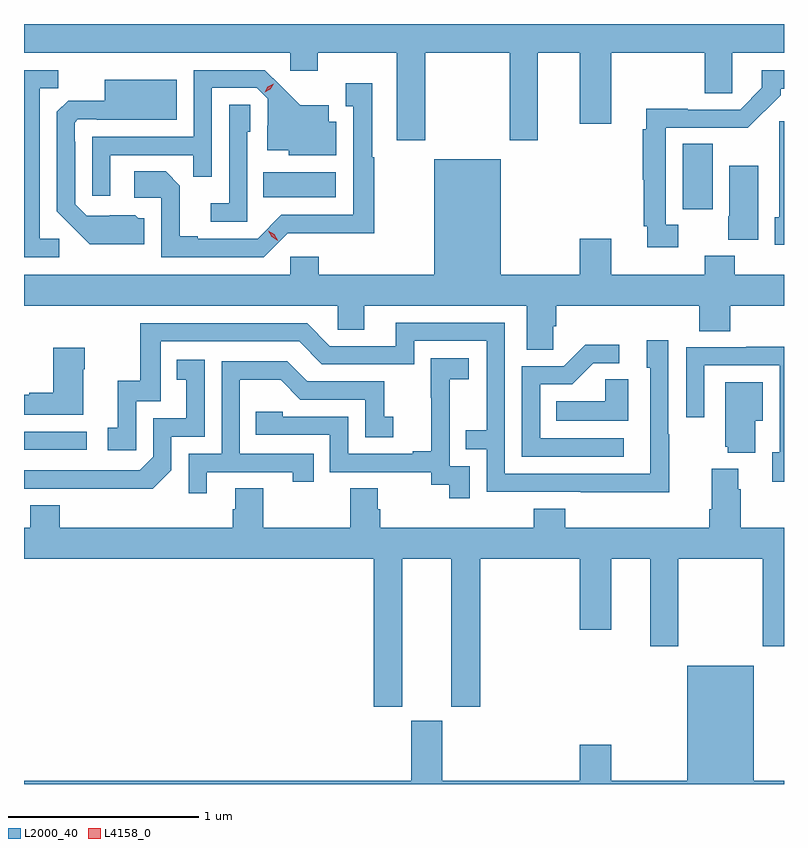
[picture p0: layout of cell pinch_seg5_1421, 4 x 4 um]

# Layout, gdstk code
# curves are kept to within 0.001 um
import gdstk
lib = gdstk.Library(unit=1e-6, precision=1e-09)
def R(c, l, rs):  # rectangles x0, y0, x1, y1
    for r in rs: c.add(gdstk.rectangle(r[:2], r[2:], *l))
def P(c, l, *ps):  # polygons
    for p in ps: c.add(gdstk.Polygon(p, *l))
L2000_40 = (2000, 40)
L4158_0 = (4158, 0)

pinch_seg5_1421 = lib.new_cell('pinch_seg5_1421')
R(pinch_seg5_1421, L2000_40, [(126.118,882.642,126.448,882.738), (129.584,883.908,129.742,884.252), (127.378,883.97,127.759,884.104)])
P(pinch_seg5_1421, L2000_40, [(128.229,884.732),(128.674,884.732),(128.674,884.271),(128.821,884.271),(128.821,884.732),(129.044,884.732),(129.044,884.358),(129.208,884.358),(129.208,884.732),(129.7,884.732),(129.7,884.518),(129.846,884.518),(129.846,884.732),(130.118,884.732),(130.118,884.883),(126.118,884.883),(126.118,884.732),(127.518,884.732),(127.518,884.637),(127.665,884.637),(127.665,884.732),(128.081,884.732),(128.081,884.271),(128.229,884.271)],
  [(126.304,883.752),(126.201,883.752),(126.201,884.545),(126.297,884.545),(126.297,884.64),(126.118,884.64),(126.118,883.656),(126.304,883.656)],
  [(129.562,883.827),(129.495,883.827),(129.495,884.337),(129.928,884.336),(130.102,884.509),(130.102,884.543),(130.118,884.543),(130.118,884.64),(130.002,884.64),(130.002,884.547),(129.888,884.433),(129.611,884.433),(129.611,884.438),(129.392,884.438),(129.392,884.33),(129.375,884.33),(129.375,884.064),(129.379,884.064),(129.379,883.819),(129.398,883.819),(129.398,883.707),(129.562,883.707)],
  [(126.573,884.193),(127.009,884.193),(127.009,884.08),(127.107,884.08),(127.107,884.547),(127.344,884.547),(127.401,884.49),(127.401,884.348),(127.397,884.348),(127.397,884.219),(127.512,884.219),(127.512,884.192),(127.762,884.192),(127.762,884.368),(127.723,884.368),(127.723,884.455),(127.571,884.455),(127.384,884.64),(127.011,884.64),(127.011,884.289),(126.477,884.289),(126.477,883.98),(126.573,883.98)],
  [(126.751,883.86),(126.72,883.86),(126.704,883.876),(126.447,883.875),(126.387,883.935),(126.387,884.264),(126.384,884.264),(126.384,884.364),(126.402,884.382),(126.502,884.382),(126.502,884.378),(126.922,884.378),(126.922,884.59),(126.542,884.59),(126.542,884.479),(126.35,884.479),(126.291,884.42),(126.291,883.898),(126.463,883.724),(126.751,883.724)],
  [(127.506,883.782),(127.961,883.781),(127.961,884.183),(127.951,884.183),(127.951,884.572),(127.811,884.572),(127.811,884.451),(127.85,884.451),(127.85,883.878),(127.473,883.878),(127.347,883.752),(127.033,883.752),(127.033,883.765),(126.939,883.765),(126.939,884.032),(126.863,884.108),(126.699,884.108),(126.699,883.968),(126.84,883.968),(126.84,883.656),(127.38,883.656)],
  [(127.293,884.316),(127.308,884.316),(127.308,884.459),(127.197,884.459),(127.197,883.939),(127.101,883.939),(127.101,883.842),(127.293,883.842)],
  [(130.118,884.371),(130.092,884.371),(130.092,883.866),(130.07,883.866),(130.07,883.722),(130.118,883.722)],
  [(128.904,883.291),(128.918,883.291),(128.918,883.4),(129.671,883.4),(129.671,883.267),(129.836,883.267),(129.836,883.4),(130.118,883.4),(130.118,883.564),(129.86,883.564),(129.86,883.663),(129.7,883.663),(129.7,883.564),(129.208,883.564),(129.208,883.753),(129.044,883.753),(129.044,883.564),(128.626,883.564),(128.626,884.17),(128.276,884.17),(128.276,883.564),(127.67,883.564),(127.67,883.657),(127.518,883.657),(127.518,883.564),(126.118,883.564),(126.118,883.4),(127.77,883.4),(127.77,883.273),(127.909,883.273),(127.909,883.4),(128.765,883.4),(128.765,883.168),(128.904,883.168)],
  [(129.982,884.137),(129.83,884.137),(129.83,883.872),(129.824,883.872),(129.824,883.748),(129.982,883.748)],
  [(129.513,882.725),(129.51,882.725),(129.51,883.219),(129.395,883.219),(129.395,883.074),(129.414,883.074),(129.414,882.516),(128.649,882.516),(128.649,883.311),(128.075,883.311),(128.075,883.188),(127.728,883.188),(127.608,883.308),(126.729,883.308),(126.729,883.006),(126.611,883.006),(126.611,882.759),(126.558,882.759),(126.558,882.639),(126.708,882.639),(126.708,882.897),(126.837,882.897),(126.837,883.212),(127.566,883.212),(127.686,883.092),(128.172,883.092),(128.172,883.215),(128.553,883.215),(128.553,882.746),(128.443,882.746),(128.443,882.645),(128.553,882.645),(128.553,882.42),(129.513,882.419)],
  [(129.274,882.702),(128.835,882.702),(128.835,882.987),(129.004,882.987),(129.115,883.098),(129.25,883.098),(129.25,883.196),(129.071,883.196),(128.958,883.083),(128.739,883.083),(128.739,882.606),(129.274,882.606)],
  [(130.118,883.184),(129.919,883.184),(129.919,883.182),(129.603,883.182),(129.603,882.813),(129.699,882.813),(129.699,883.086),(130.095,883.086),(130.095,882.63),(130.055,882.63),(130.055,882.474),(130.118,882.474)],
  [(126.43,883.067),(126.438,883.067),(126.438,883.18),(126.272,883.18),(126.272,882.941),(126.146,882.941),(126.146,882.931),(126.118,882.931),(126.118,882.827),(126.43,882.827)],
  [(128.463,882.555),(128.358,882.555),(128.358,882.785),(128.36,882.785),(128.36,883.013),(128.458,883.013),(128.458,883.123),(128.26,883.123),(128.26,882.917),(128.261,882.917),(128.261,882.634),(128.165,882.634),(128.165,882.621),(127.824,882.621),(127.824,882.816),(127.479,882.816),(127.479,882.843),(127.339,882.843),(127.339,882.72),(127.728,882.72),(127.728,882.525),(128.262,882.525),(128.262,882.457),(128.355,882.457),(128.355,882.387),(128.463,882.387)],
  [(126.894,882.534),(126.894,882.711),(127.068,882.711),(127.068,883.117),(126.922,883.117),(126.922,883.011),(126.971,883.011),(126.971,882.807),(126.798,882.807),(126.798,882.606),(126.726,882.534),(126.118,882.534),(126.118,882.438),(126.796,882.437)],
  [(127.081,882.525),(127.532,882.525),(127.532,882.474),(127.643,882.474),(127.643,882.621),(127.254,882.621),(127.254,883.01),(127.468,883.01),(127.572,882.906),(127.914,882.906),(127.914,882.708),(128.062,882.708),(128.062,882.817),(128.013,882.817),(128.013,883.002),(127.609,883.002),(127.504,883.107),(127.158,883.107),(127.158,882.621),(126.984,882.621),(126.984,882.414),(127.081,882.414)],
  [(129.298,883.013),(129.177,883.013),(129.177,882.898),(128.92,882.898),(128.92,882.794),(129.298,882.794)],
  [(129.967,882.794),(130.006,882.794),(130.006,882.997),(129.809,882.997),(129.809,882.657),(129.821,882.657),(129.821,882.626),(129.967,882.626)],
  [(129.877,882.434),(129.877,882.541),(129.737,882.541),(129.737,882.328),(129.725,882.328),(129.725,882.232),(128.966,882.232),(128.966,882.331),(128.801,882.331),(128.801,882.232),(127.994,882.232),(127.994,882.33),(127.981,882.33),(127.981,882.44),(127.834,882.44),(127.834,882.232),(127.377,882.232),(127.377,882.44),(127.229,882.44),(127.229,882.33),(127.217,882.33),(127.217,882.232),(126.305,882.232),(126.305,882.349),(126.152,882.349),(126.152,882.232),(126.118,882.232),(126.118,882.068),(127.958,882.068),(127.958,881.289),(128.11,881.289),(128.11,882.068),(128.366,882.068),(128.366,881.289),(128.519,881.289),(128.519,882.068),(129.044,882.068),(129.044,881.694),(129.208,881.694),(129.208,882.068),(129.413,882.068),(129.413,881.607),(129.561,881.607),(129.561,882.068),(130.006,882.068),(130.006,881.607),(130.118,881.607),(130.118,882.232),(129.89,882.232),(129.89,882.434)],
  [(130.118,880.9),(129.958,880.9),(129.958,881.506),(129.608,881.506),(129.608,880.9),(129.208,880.9),(129.208,881.089),(129.044,881.089),(129.044,880.9),(128.32,880.9),(128.32,881.217),(128.156,881.217),(128.156,880.9),(126.118,880.9),(126.118,880.883),(130.118,880.883)])
P(pinch_seg5_1421, L4158_0, [(127.453,883.743),(127.421,883.762),(127.403,883.794),(127.403,883.795),(127.403,883.795),(127.435,883.776),(127.453,883.744),(127.453,883.743)],
  [(127.384,884.523),(127.384,884.523),(127.401,884.553),(127.432,884.569),(127.432,884.569),(127.432,884.569),(127.415,884.539),(127.385,884.523)])

lib.write_gds('pinch_seg5_1421.gds')
